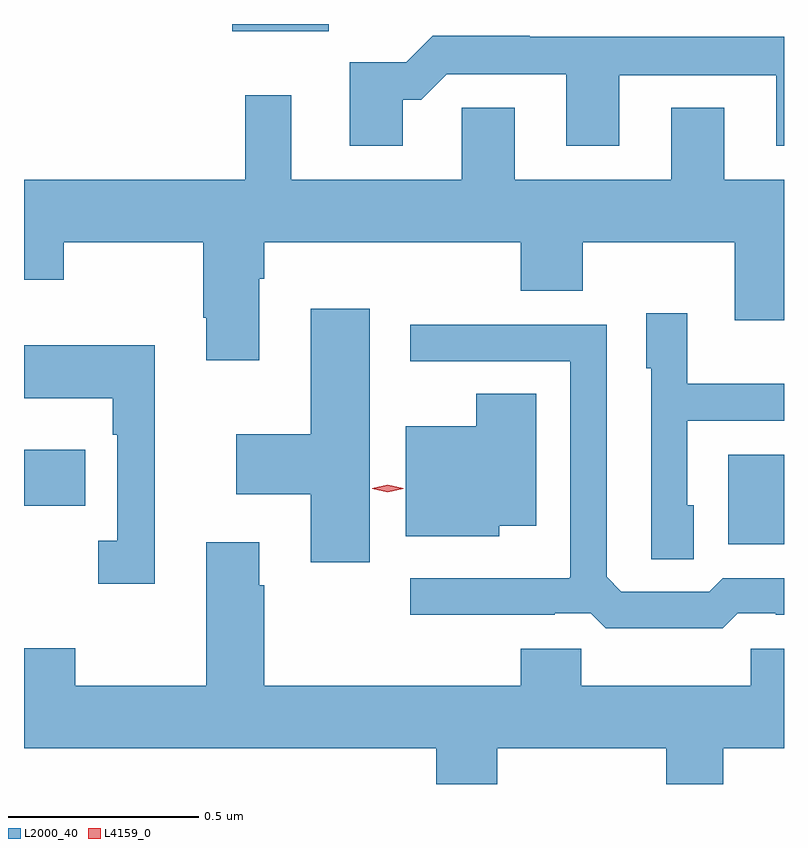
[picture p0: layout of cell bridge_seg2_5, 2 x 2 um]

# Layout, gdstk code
import gdstk
lib = gdstk.Library(unit=1e-6, precision=1e-09)
def R(c, l, rs):  # rectangles x0, y0, x1, y1
    for r in rs: c.add(gdstk.rectangle(r[:2], r[2:], *l))
def P(c, l, *ps):  # polygons
    for p in ps: c.add(gdstk.Polygon(p, *l))
L2000_40 = (2000, 40)
L4159_0 = (4159, 0)

bridge_seg2_5 = lib.new_cell('bridge_seg2_5')
R(bridge_seg2_5, L2000_40, [(730.973,661.493,731.12,661.729), (729.12,661.594,729.281,661.741), (729.668,662.843,729.922,662.862)])
P(bridge_seg2_5, L2000_40, [(730.117,662.663),(730.166,662.663),(730.233,662.73),(730.547,662.73),(730.547,662.541),(730.687,662.541),(730.687,662.727),(731.099,662.727),(731.099,662.541),(731.12,662.541),(731.12,662.828),(730.451,662.828),(730.451,662.831),(730.196,662.831),(730.126,662.761),(729.977,662.761),(729.977,662.541),(730.117,662.541)],
  [(729.739,662.192),(729.752,662.192),(729.752,662.288),(730.427,662.288),(730.427,662.16),(730.591,662.16),(730.591,662.288),(730.991,662.288),(730.991,662.082),(731.12,662.082),(731.12,662.452),(730.963,662.452),(730.963,662.642),(730.823,662.642),(730.823,662.452),(730.411,662.452),(730.411,662.642),(730.272,662.642),(730.272,662.452),(729.823,662.452),(729.823,662.674),(729.702,662.674),(729.702,662.452),(729.12,662.452),(729.12,662.189),(729.225,662.189),(729.225,662.288),(729.592,662.288),(729.592,662.089),(729.599,662.089),(729.599,661.977),(729.739,661.977)],
  [(730.03,662.113),(729.875,662.113),(729.875,661.783),(729.678,661.783),(729.678,661.625),(729.875,661.625),(729.875,661.446),(730.03,661.446)],
  [(730.882,661.596),(730.866,661.596),(730.866,661.818),(731.12,661.818),(731.12,661.915),(730.866,661.915),(730.866,662.101),(730.757,662.101),(730.757,661.956),(730.77,661.956),(730.77,661.453),(730.882,661.453)],
  [(730.998,661.311),(731.098,661.311),(731.098,661.307),(731.12,661.307),(731.12,661.404),(730.959,661.404),(730.923,661.368),(730.692,661.368),(730.653,661.407),(730.653,662.07),(730.137,662.07),(730.137,661.974),(730.557,661.974),(730.557,661.406),(730.556,661.406),(730.556,661.404),(730.137,661.404),(730.137,661.307),(730.517,661.307),(730.517,661.311),(730.611,661.311),(730.651,661.272),(730.959,661.272)],
  [(729.464,662.017),(729.12,662.017),(729.12,661.877),(729.354,661.877),(729.354,661.781),(729.366,661.781),(729.366,661.502),(729.315,661.502),(729.315,661.389),(729.464,661.389)],
  [(730.371,661.541),(730.468,661.541),(730.468,661.889),(730.31,661.889),(730.31,661.804),(730.124,661.804),(730.124,661.514),(730.371,661.514)],
  [(730.365,660.956),(730.81,660.956),(730.81,660.862),(730.96,660.862),(730.96,660.956),(731.12,660.956),(731.12,661.218),(731.032,661.218),(731.032,661.12),(730.587,661.12),(730.587,661.218),(730.427,661.218),(730.427,661.12),(729.752,661.12),(729.752,661.385),(729.739,661.385),(729.739,661.498),(729.599,661.498),(729.599,661.12),(729.255,661.12),(729.255,661.219),(729.12,661.219),(729.12,660.956),(730.205,660.956),(730.205,660.862),(730.365,660.862)])
P(bridge_seg2_5, L4159_0, [(730.077,661.63),(730.036,661.639),(730.036,661.639),(730.036,661.64),(730.077,661.649),(730.118,661.64),(730.118,661.64),(730.118,661.639)])

lib.write_gds('bridge_seg2_5.gds')
